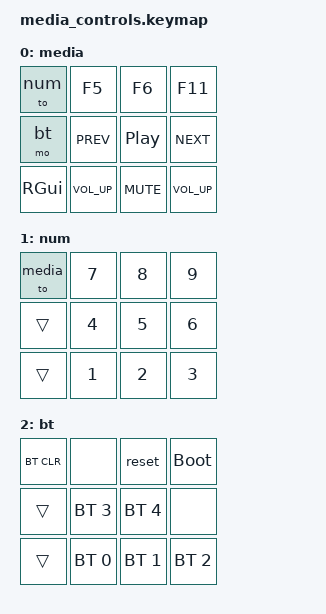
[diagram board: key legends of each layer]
#include <behaviors.dtsi>
#include <dt-bindings/zmk/keys.h>
#include <dt-bindings/zmk/bt.h>

#define media	0
#define num		1
#define bt		2

/ {
	keymap {
		compatible = "zmk,keymap";

		media {
			bindings = <
			&to num		&kp F5			&kp F6		&kp F11
			&mo bt		&kp C_PREV		&kp C_PP	&kp C_NEXT
			&kp RGUI	&kp C_VOL_UP	&kp C_MUTE	&kp C_VOL_UP
			>;
		};

		num{
			bindings = <
			&to media   &kp N7			&kp N8		 &kp N9
			&trans		&kp N4			&kp N5		 &kp N6
			&trans		&kp N1			&kp N2		 &kp N3
			>;
		};

		bt{
			bindings = <
			&bt BT_CLR &none        &reset       &bootloader
    		&trans     &bt BT_SEL 3 &bt BT_SEL 4 &none
    		&trans     &bt BT_SEL 0 &bt BT_SEL 1 &bt BT_SEL 2
			>;
		};

	};
	

};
